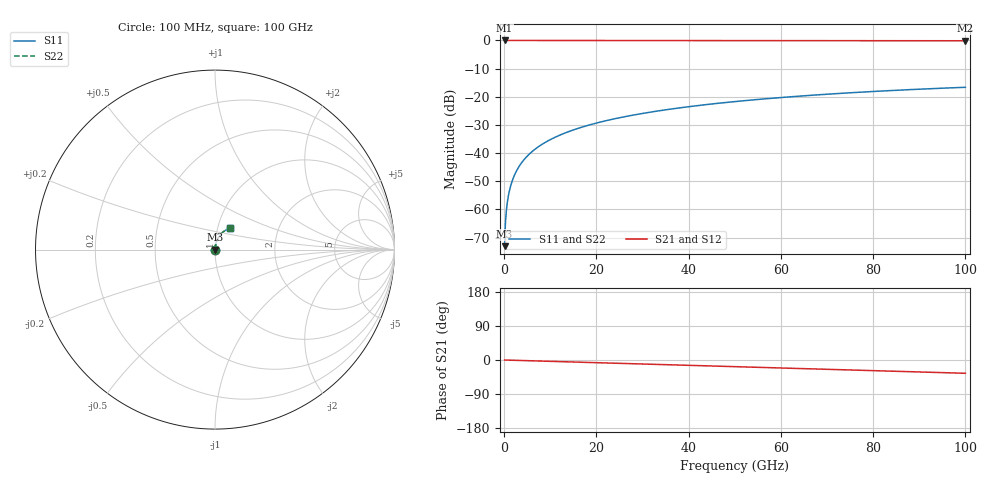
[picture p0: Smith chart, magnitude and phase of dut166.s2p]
! Touchstone file exported from HFSS 2026.1.0
!  File:  C:/ffzhzh/LocalFiles/Ansys_Project_Files/temp_train_TSV_166_1783506864_44152.aedt
!  Generated:  06:35:34 PM Jul  8, 2026
!  Design:  TSV
!  Project:  temp_train_TSV_166_1783506864_44152
! Variables:
!  h_bsmrdl = 2um
!  h_ox = 20um
!  h_rdl = 5um
!  h_sub = 60.97um
!  h_tmrdl = 5um
!  h_tsv = 60.97um
!  h_via = 3um
!  l_bsmrdl = 300um
!  l_sub = 421.46um
!  l_tmrdl = 200um
!  m_sub = 200um
!  pitch = 59.51um
!  r_tsv = 10.73um
!  s_tmrdl = 10um
!  w_bsmrdl = 18um
!  w_sub = 500um
!  w_tmrdl = 12um
!  x_tsv_center1 = 206um
!  x_tsv_center2 = 524um
!  x_tsv_center3 = 736um
!  x_tsv_center4 = 1054um
!  x_tsv_center5 = 1266um
!  x_tsv_center6 = 1584um
# GHz S MA R 50.000000
! Terminal data exported
! Port[1] = TSV1_1_T1
! Port[2] = TSV1_1_T2
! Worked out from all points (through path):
!   1000 points, 100 MHz to 100 GHz, reference 50 ohm
!   highest |S21| = 0.00 dB at 100 MHz (marker M1); lowest = -0.1 dB at 100 GHz (marker M2)
!   group delay of S21, straight-line fit = 973 fs
!   lowest |S11| = -73.0 dB at 100 MHz (marker M3), VSWR 1.00, Z = 50 + j0.0203 ohm
!   |S11| at or under -10 dB: start of sweep to end of sweep
!   |S22| runs from -73.0 to -16.6 dB; largest |S21 - S12| = 2.1e-15
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0.1  0.0002227 65.7  0.9999 -0.0  0.9999 -0.0  0.0002227 65.7
! Gamma 0 0 0 0
! Port Impedance 50 0 50 0
0.3  0.0006101 79.0  0.9999 -0.1  0.9999 -0.1  0.0006101 79.0
0.7  0.001353 82.3  0.9998 -0.3  0.9998 -0.3  0.001353 82.3
0.8  0.001533 82.6  0.9998 -0.3  0.9998 -0.3  0.001533 82.6
1  0.001889 83.2  0.9998 -0.4  0.9998 -0.4  0.001889 83.2
1.3  0.00242 83.9  0.9998 -0.5  0.9998 -0.5  0.00242 83.9
1.7  0.003124 84.4  0.9997 -0.6  0.9997 -0.6  0.003124 84.4
2.3  0.004174 84.8  0.9997 -0.8  0.9997 -0.8  0.004174 84.8
3  0.00539 85.1  0.9996 -1.1  0.9996 -1.1  0.00539 85.1
3.8  0.006771 85.2  0.9996 -1.4  0.9996 -1.4  0.006771 85.2
4.8  0.008489 85.2  0.9995 -1.7  0.9995 -1.7  0.008489 85.2
6  0.01054 85.1  0.9994 -2.1  0.9994 -2.1  0.01054 85.1
8.8  0.01532 84.6  0.9993 -3.1  0.9993 -3.1  0.01532 84.6
12.4  0.02141 83.6  0.999 -4.4  0.999 -4.4  0.02141 83.6
16.8  0.0288 82.3  0.9987 -5.9  0.9987 -5.9  0.0288 82.3
24.2  0.04111 80.0  0.9981 -8.5  0.9981 -8.5  0.04111 80.0
33.4  0.05612 77.0  0.9972 -11.8  0.9972 -11.8  0.05612 77.0
41.2  0.06854 74.4  0.9963 -14.5  0.9963 -14.5  0.06854 74.4
50.1  0.08229 71.3  0.9951 -17.6  0.9951 -17.6  0.08229 71.3
66.7  0.1065 65.7  0.9926 -23.4  0.9926 -23.4  0.1065 65.7
83.4  0.1285 60.0  0.9897 -29.3  0.9897 -29.3  0.1285 60.0
100  0.1474 54.3  0.9868 -35.1  0.9868 -35.1  0.1474 54.3
